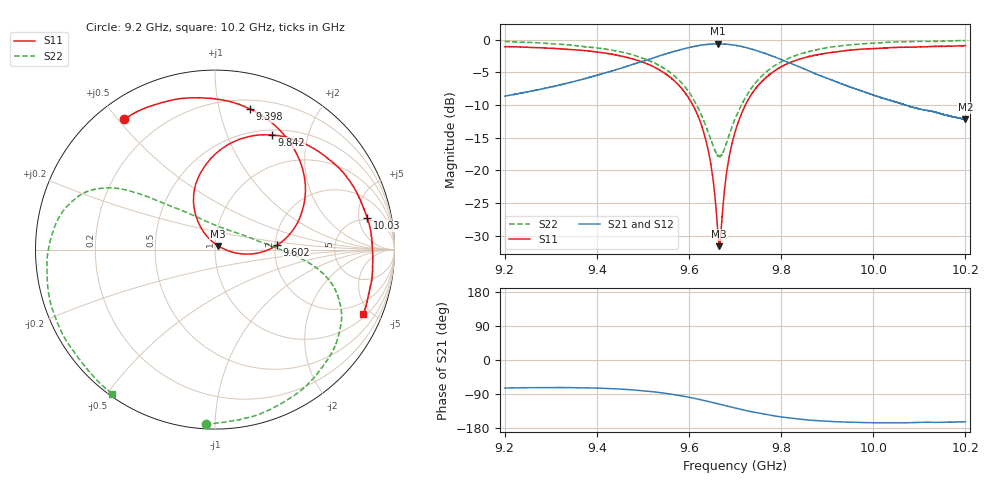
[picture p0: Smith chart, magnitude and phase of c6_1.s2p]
!Agilent Technologies,N5242A,MY51221714,A.09.90.19
!Agilent N5242A: A.09.90.19
!Date: Saturday, December 30, 2023 10:29:15
!Correction: S11(Full 2 Port(1,2))
!S21(Full 2 Port(1,2))
!S12(Full 2 Port(1,2))
!S22(Full 2 Port(1,2))
!S2P File: Measurements: S11, S21, S12, S22:
# Hz S  dB  R 50
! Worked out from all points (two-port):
!   16001 points, 9.2 GHz to 10.2 GHz, reference 50 ohm
!   highest |S21| = -0.62 dB at 9.663 GHz (marker M1); lowest = -12.2 dB at 10.2 GHz (marker M2)
!   |S21| within 3 dB of the highest: 9.485153 GHz to 9.48531 GHz (157 kHz wide, 0.00165 % of centre); 9.485 GHz to 9.821 GHz (335.4 MHz wide, 3.47 % of centre)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
!   lowest |S11| = -31.6 dB at 9.666 GHz (marker M3), VSWR 1.05, Z = 51.6 + j2.14 ohm
!   |S11| at or under -10 dB: 9.608 GHz to 9.723 GHz (114.3 MHz wide, 1.18 % of centre)
!   |S22| runs from -17.9 to -0.1 dB; largest |S21 - S12| = 0.014
!   S11 on the Smith chart (normalised r, x): 9.2 GHz: 0.08, +0.52; 9.398 GHz: 0.27, +1.24; 9.602 GHz: 2.05, +0.12; 9.842 GHz: 0.56, +1.46; 10.03 GHz: 4.70, +6.51; 10.2 GHz: 1.18, -4.53
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9.2e9  -1.06 124.8  -8.64 -74.0  -8.62 -74.7  -0.26 -93.0
9.27775e9  -1.24 106.9  -7.60 -72.8  -7.57 -73.4  -0.50 -71.9
9.366688e9  -1.62 84.7  -6.10 -73.1  -6.09 -73.9  -1.00 -49.1
9.397562e9  -1.86 76.2  -5.50 -74.0  -5.48 -74.8  -1.23 -41.4
9.466625e9  -2.72 55.5  -4.04 -77.9  -4.03 -78.6  -2.11 -26.3
9.533375e9  -4.53 32.2  -2.54 -85.4  -2.53 -86.1  -3.85 -14.0
9.602188e9  -9.23 4.1  -1.17 -98.9  -1.15 -99.6  -8.24 -1.2
9.640938e9  -16.60 -9.3  -0.71 -109.2  -0.71 -109.9  -14.00 20.3
9.652312e9  -21.38 -7.1  -0.66 -112.4  -0.65 -113.1  -16.21 36.1
9.663438e9  -30.08 28.0  -0.62 -115.7  -0.62 -116.4  -17.78 61.6
9.665688e9  -31.61 52.0  -0.64 -116.4  -0.63 -117.1  -17.84 67.8
9.669562e9  -29.55 92.1  -0.64 -117.6  -0.63 -118.2  -17.74 78.5
9.683688e9  -19.45 122.2  -0.70 -121.7  -0.69 -122.5  -15.36 109.3
9.7e9  -14.17 120.4  -0.84 -126.5  -0.82 -127.3  -12.15 125.4
9.750625e9  -6.99 99.3  -1.76 -140.0  -1.74 -140.8  -6.10 142.6
9.841812e9  -2.94 63.5  -4.24 -156.2  -4.22 -156.9  -2.17 155.3
9.866688e9  -2.47 55.1  -4.97 -159.1  -4.96 -159.8  -1.70 159.2
9.95e9  -1.59 31.3  -7.24 -164.2  -7.23 -164.9  -0.80 175.1
1.003106e10  -1.26 11.6  -9.17 -165.6  -9.16 -166.4  -0.40 -167.0
1.003338e10  -1.23 11.0  -9.21 -165.6  -9.20 -166.4  -0.38 -166.5
1.019994e10  -0.91 -23.5  -12.21 -163.1  -12.20 -163.9  -0.13 -125.4
1.02e10  -0.90 -23.4  -12.20 -163.1  -12.19 -164.0  -0.12 -125.4
